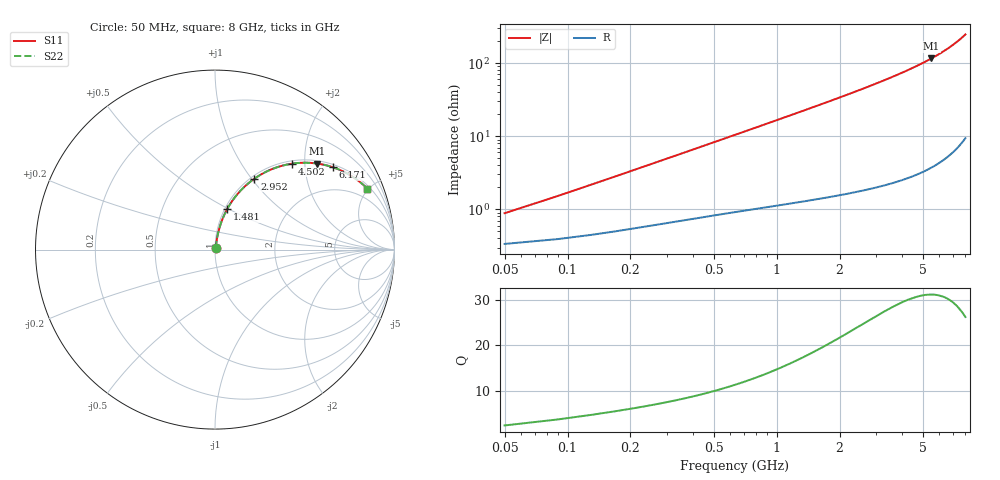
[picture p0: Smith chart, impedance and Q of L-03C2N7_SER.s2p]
! L-03C2N7
! Data taken by Rita
! Created Thu Jun 15 17:28:34 2006
# hz S ma R 50
! 2 Port Network Data from SP1.SP block
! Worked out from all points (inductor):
!   201 points, 50 MHz to 8 GHz, reference 50 ohm
!   read as one part in series: L = 2.61 nH near 89.75 MHz
!   highest Q = 31.1 at 5.496 GHz (marker M1), where L = 3.35 nH
!   S11 on the Smith chart (normalised r, x): 50 MHz: 1.01, +0.02; 1.481 GHz: 1.03, +0.49; 2.952 GHz: 1.04, +1.03; 4.502 GHz: 1.06, +1.73; 6.171 GHz: 1.09, +2.80; 8 GHz: 1.19, +4.92
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5e7  0.008836 67.2  0.9966 -0.5  0.9966 -0.5  0.008836 67.2
8.975e7  0.01517 74.2  0.996 -0.8  0.996 -0.8  0.01517 74.2
1.295e8  0.0216 76.9  0.9953 -1.2  0.9953 -1.2  0.0216 76.9
1.6925e8  0.02806 78.2  0.9946 -1.6  0.9946 -1.6  0.02806 78.2
2.09e8  0.03451 78.9  0.994 -2.0  0.994 -2.0  0.03451 78.9
2.885e8  0.04741 79.6  0.9926 -2.7  0.9926 -2.7  0.04741 79.6
4.0775e8  0.06672 79.8  0.9903 -3.8  0.9903 -3.8  0.06672 79.8
5.6675e8  0.09236 79.4  0.9871 -5.3  0.9871 -5.3  0.09236 79.4
8.0525e8  0.1306 78.1  0.9815 -7.5  0.9815 -7.5  0.1306 78.1
1.0835e9  0.1748 76.2  0.9733 -10.0  0.9733 -10.0  0.1748 76.2
1.4015e9  0.2246 73.8  0.9619 -13.0  0.9619 -13.0  0.2246 73.8
1.481e9  0.237 73.2  0.9587 -13.7  0.9587 -13.7  0.237 73.2
2.0375e9  0.3216 68.6  0.9323 -18.7  0.9323 -18.7  0.3216 68.6
2.7133e9  0.4194 63.0  0.8913 -24.8  0.8913 -24.8  0.4194 63.0
2.9518e9  0.4525 60.9  0.8747 -26.9  0.8747 -26.9  0.4525 60.9
4.025e9  0.59 51.9  0.7877 -36.1  0.7877 -36.1  0.59 51.9
4.502e9  0.6446 48.0  0.7436 -40.1  0.7436 -40.1  0.6446 48.0
5.3765e9  0.7337 41.0  0.6563 -47.2  0.6563 -47.2  0.7337 41.0
5.4958e9  0.7448 40.1  0.6438 -48.1  0.6438 -48.1  0.7448 40.1
6.1715e9  0.802 34.9  0.5718 -53.3  0.5718 -53.3  0.802 34.9
6.6883e9  0.8399 31.0  0.5154 -57.1  0.5154 -57.1  0.8399 31.0
8e9  0.9145 21.8  0.3712 -66.0  0.3712 -66.0  0.9145 21.8
